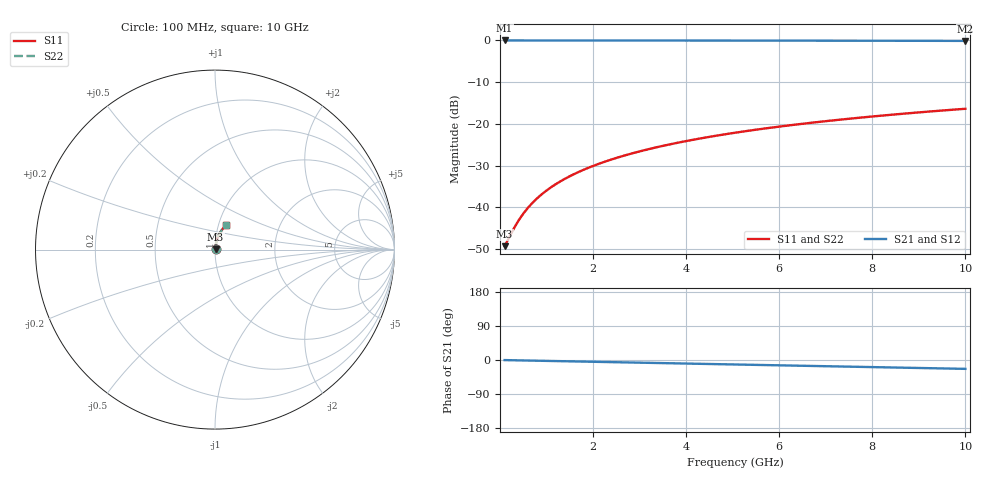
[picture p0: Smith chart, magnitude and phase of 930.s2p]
# Hz S RI R 50.00
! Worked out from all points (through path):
!   100 points, 100 MHz to 10 GHz, reference 50 ohm
!   highest |S21| = -0.03 dB at 100 MHz (marker M1); lowest = -0.1 dB at 10 GHz (marker M2)
!   group delay of S21, straight-line fit = 6.5 ps
!   lowest |S11| = -49.3 dB at 100 MHz (marker M3), VSWR 1.01, Z = 50.3 + j0.156 ohm
!   |S11| at or under -10 dB: start of sweep to end of sweep
!   |S22| runs from -49.3 to -16.4 dB; largest |S21 - S12| = 0
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1e8  0.00307 0.00155  0.9969 -0.00408  0.9969 -0.00408  0.00307 0.00155
3e8  0.00316 0.00465  0.9968 -0.0122  0.9968 -0.0122  0.00316 0.00465
4e8  0.00321 0.0062  0.9967 -0.0163  0.9967 -0.0163  0.00321 0.0062
5e8  0.00328 0.00775  0.9966 -0.0204  0.9966 -0.0204  0.00328 0.00775
6e8  0.00336 0.0093  0.9965 -0.0244  0.9965 -0.0244  0.00336 0.0093
7e8  0.00345 0.0108  0.9964 -0.0285  0.9964 -0.0285  0.00345 0.0108
8e8  0.00355 0.0124  0.9962 -0.0326  0.9962 -0.0326  0.00355 0.0124
1e9  0.00379 0.0155  0.9959 -0.0407  0.9959 -0.0407  0.00379 0.0155
1.2e9  0.00408 0.0186  0.9954 -0.0489  0.9954 -0.0489  0.00408 0.0186
1.5e9  0.0046 0.0232  0.9946 -0.0611  0.9946 -0.0611  0.0046 0.0232
1.8e9  0.00524 0.0278  0.9937 -0.0733  0.9937 -0.0733  0.00524 0.0278
2.1e9  0.00599 0.0324  0.9925 -0.0854  0.9925 -0.0854  0.00599 0.0324
2.5e9  0.00716 0.0385  0.9908 -0.1016  0.9908 -0.1016  0.00716 0.0385
2.9e9  0.00854 0.0445  0.9887 -0.1178  0.9887 -0.1178  0.00854 0.0445
3.4e9  0.0105 0.052  0.9857 -0.1379  0.9857 -0.1379  0.0105 0.052
4.2e9  0.0143 0.0638  0.9799 -0.17  0.9799 -0.17  0.0143 0.0638
5.1e9  0.0195 0.0767  0.972 -0.2057  0.972 -0.2057  0.0195 0.0767
5.9e9  0.0249 0.0878  0.9637 -0.2371  0.9637 -0.2371  0.0249 0.0878
6.7e9  0.031 0.0986  0.9543 -0.2681  0.9543 -0.2681  0.031 0.0986
7.5e9  0.0378 0.1089  0.9438 -0.2986  0.9438 -0.2986  0.0378 0.1089
8.4e9  0.0463 0.1199  0.9306 -0.3325  0.9306 -0.3325  0.0463 0.1199
1e10  0.0632 0.1379  0.904 -0.391  0.904 -0.391  0.0632 0.1379
